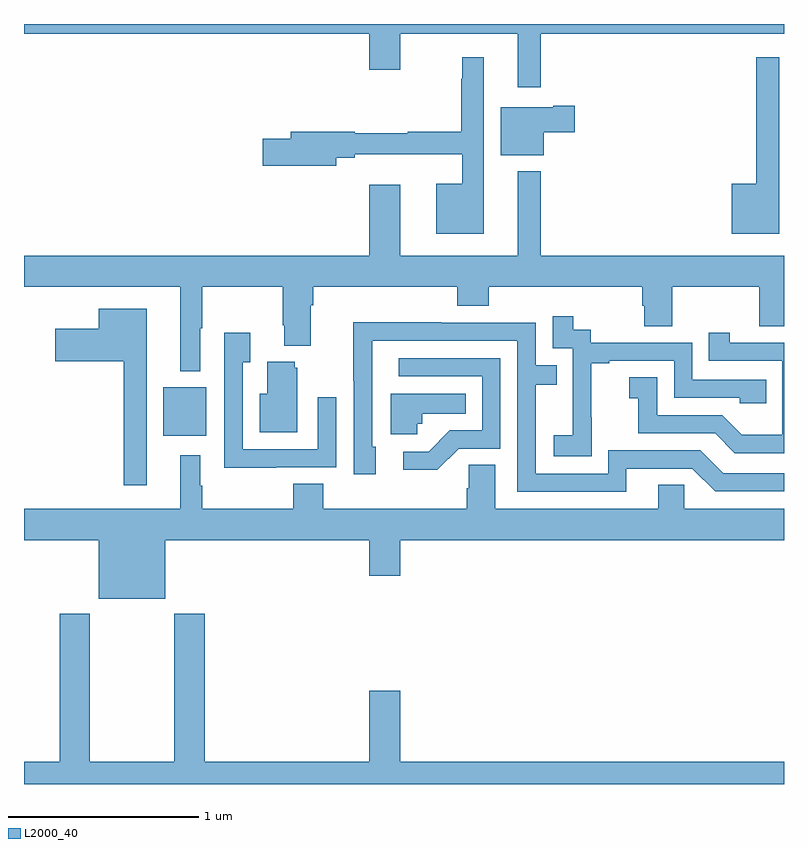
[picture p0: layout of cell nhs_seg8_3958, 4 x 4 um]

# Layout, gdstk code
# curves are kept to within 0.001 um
import gdstk
lib = gdstk.Library(unit=1e-6, precision=1e-09)
def R(c, l, rs):  # rectangles x0, y0, x1, y1
    for r in rs: c.add(gdstk.rectangle(r[:2], r[2:], *l))
def P(c, l, *ps):  # polygons
    for p in ps: c.add(gdstk.Polygon(p, *l))
L2000_40 = (2000, 40)

nhs_seg8_3958 = lib.new_cell('nhs_seg8_3958')
R(nhs_seg8_3958, L2000_40, [(355.733,1099.733,355.96,1099.987)])
P(nhs_seg8_3958, L2000_40, [(357.721,1101.848),(359,1101.848),(359,1101.9),(355,1101.9),(355,1101.848),(356.816,1101.848),(356.816,1101.66),(356.98,1101.66),(356.98,1101.848),(357.599,1101.848),(357.599,1101.567),(357.721,1101.567)],
  [(357.421,1101.724),(357.307,1101.724),(357.307,1101.611),(357.3,1101.611),(357.3,1101.332),(357.021,1101.332),(357.021,1101.325),(356.74,1101.325),(356.74,1101.332),(356.405,1101.332),(356.405,1101.296),(356.256,1101.296),(356.256,1101.154),(356.644,1101.154),(356.644,1101.196),(356.74,1101.196),(356.74,1101.215),(357.307,1101.215),(357.307,1101.058),(357.17,1101.058),(357.17,1100.795),(357.421,1100.795)],
  [(358.975,1101.724),(358.854,1101.724),(358.854,1101.058),(358.724,1101.058),(358.724,1100.795),(358.975,1100.795)],
  [(357.736,1101.329),(357.898,1101.329),(357.898,1101.471),(357.785,1101.471),(357.785,1101.463),(357.509,1101.463),(357.509,1101.209),(357.736,1101.209)],
  [(355.927,1100.3),(355.937,1100.3),(355.937,1100.516),(356.362,1100.516),(356.362,1100.314),(356.369,1100.314),(356.369,1100.207),(356.509,1100.207),(356.509,1100.42),(356.522,1100.42),(356.522,1100.516),(357.281,1100.516),(357.281,1100.417),(357.446,1100.417),(357.446,1100.516),(358.253,1100.516),(358.253,1100.418),(358.265,1100.418),(358.265,1100.308),(358.413,1100.308),(358.413,1100.516),(358.87,1100.516),(358.87,1100.308),(359,1100.308),(359,1100.68),(357.721,1100.68),(357.721,1101.124),(357.599,1101.124),(357.599,1100.68),(356.98,1100.68),(356.98,1101.055),(356.816,1101.055),(356.816,1100.68),(355,1100.68),(355,1100.516),(355.823,1100.516),(355.823,1100.072),(355.927,1100.072)],
  [(355.645,1100.401),(355.394,1100.401),(355.394,1100.296),(355.164,1100.296),(355.164,1100.126),(355.524,1100.126),(355.524,1099.473),(355.645,1099.473)],
  [(357.987,1099.831),(357.986,1099.831),(357.986,1100.115),(358.081,1100.115),(358.081,1100.127),(358.422,1100.127),(358.422,1099.932),(358.767,1099.932),(358.767,1099.905),(358.907,1099.905),(358.907,1100.028),(358.518,1100.028),(358.518,1100.223),(357.984,1100.223),(357.984,1100.292),(357.892,1100.292),(357.892,1100.362),(357.783,1100.362),(357.783,1100.193),(357.888,1100.193),(357.888,1099.964),(357.887,1099.964),(357.887,1099.735),(357.789,1099.735),(357.789,1099.625),(357.987,1099.625)],
  [(358.171,1099.56),(358.518,1099.56),(358.638,1099.44),(359,1099.44),(359,1099.536),(358.68,1099.536),(358.56,1099.656),(358.074,1099.656),(358.074,1099.533),(357.693,1099.533),(357.693,1100.002),(357.803,1100.002),(357.803,1100.103),(357.693,1100.103),(357.693,1100.328),(357.197,1100.328),(357.197,1100.33),(356.734,1100.33),(356.734,1100.023),(356.736,1100.023),(356.736,1099.53),(356.851,1099.53),(356.851,1099.674),(356.832,1099.674),(356.833,1100.232),(357.597,1100.232),(357.597,1099.437),(358.171,1099.437)],
  [(359,1100.223),(358.714,1100.223),(358.714,1100.275),(358.603,1100.275),(358.603,1100.127),(358.992,1100.127),(358.992,1099.738),(358.778,1099.738),(358.674,1099.842),(358.332,1099.842),(358.332,1100.041),(358.185,1100.041),(358.185,1099.931),(358.234,1099.931),(358.234,1099.746),(358.637,1099.746),(358.742,1099.641),(359,1099.641)],
  [(356.327,1099.566),(356.643,1099.566),(356.643,1099.936),(356.547,1099.936),(356.547,1099.662),(356.151,1099.662),(356.151,1100.119),(356.191,1100.119),(356.191,1100.275),(356.055,1100.275),(356.055,1099.565),(356.327,1099.565)],
  [(357.288,1099.665),(357.507,1099.665),(357.507,1100.142),(356.973,1100.142),(356.973,1100.046),(357.411,1100.046),(357.411,1099.761),(357.242,1099.761),(357.131,1099.65),(356.997,1099.65),(356.997,1099.553),(357.175,1099.553)],
  [(356.437,1100.091),(356.426,1100.091),(356.426,1100.122),(356.279,1100.122),(356.279,1099.954),(356.24,1099.954),(356.24,1099.751),(356.437,1099.751)],
  [(357.069,1099.797),(357.096,1099.797),(357.096,1099.85),(357.326,1099.85),(357.326,1099.954),(356.93,1099.954),(356.93,1099.742),(357.069,1099.742)],
  [(355.744,1099.184),(356.816,1099.184),(356.816,1098.996),(356.98,1098.996),(356.98,1099.184),(359,1099.184),(359,1099.348),(358.476,1099.348),(358.476,1099.475),(358.337,1099.475),(358.337,1099.348),(357.481,1099.348),(357.481,1099.58),(357.342,1099.58),(357.342,1099.457),(357.329,1099.457),(357.329,1099.348),(356.576,1099.348),(356.576,1099.481),(356.416,1099.481),(356.416,1099.348),(355.937,1099.348),(355.937,1099.469),(355.927,1099.469),(355.927,1099.63),(355.823,1099.63),(355.823,1099.348),(355,1099.348),(355,1099.184),(355.394,1099.184),(355.394,1098.875),(355.744,1098.875)],
  [(355.792,1098.016),(355.347,1098.016),(355.347,1098.796),(355.187,1098.796),(355.187,1098.016),(355,1098.016),(355,1097.9),(359,1097.9),(359,1098.016),(356.98,1098.016),(356.98,1098.391),(356.816,1098.391),(356.816,1098.016),(355.952,1098.016),(355.952,1098.796),(355.792,1098.796)])

lib.write_gds('nhs_seg8_3958.gds')
